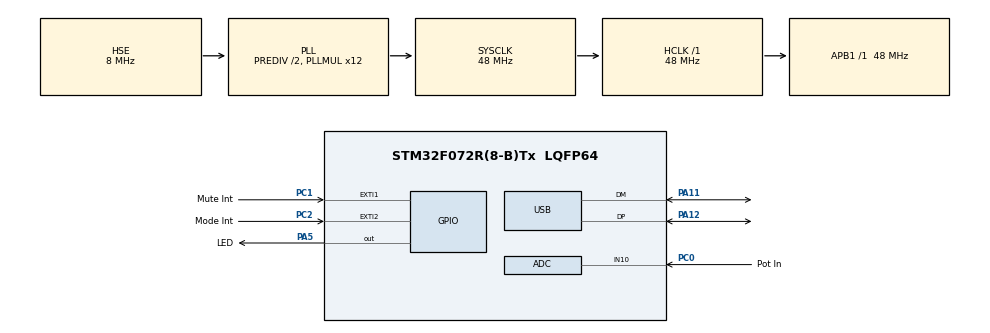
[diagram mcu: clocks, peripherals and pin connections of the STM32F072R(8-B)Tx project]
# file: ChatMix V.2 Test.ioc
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ADC.ContinuousConvMode=ENABLE
ADC.EnableAnalogWatchDog=true
ADC.ITMode=ENABLE
ADC.Overrun=ADC_OVR_DATA_OVERWRITTEN
ADC.WatchdogChannel=ADC_CHANNEL_10
Mcu.Family=STM32F0
Mcu.Name=STM32F072R(8-B)Tx
Mcu.Package=LQFP64
NVIC.ADC1_COMP_IRQn=true\:0\:0\:false\:false\:true\:true\:true\:true
NVIC.EXTI0_1_IRQn=true\:0\:0\:false\:false\:true\:true\:true\:true
NVIC.EXTI2_3_IRQn=true\:0\:0\:false\:false\:true\:true\:true\:true
NVIC.USB_IRQn=true\:0\:0\:false\:false\:true\:false\:true\:true
PA11.Mode=Device
PA11.Signal=USB_DM
PA12.Mode=Device
PA12.Signal=USB_DP
PA5.GPIO_Label=LED
PA5.Signal=GPIO_Output
PC0.GPIO_Label=Pot In
PC0.Mode=IN10
PC0.Signal=ADC_IN10
PC1.GPIO_Label=Mute Int
PC1.GPIO_ModeDefaultEXTI=GPIO_MODE_IT_FALLING
PC1.GPIO_PuPd=GPIO_PULLUP
PC1.Signal=GPXTI1
PC2.GPIO_Label=Mode Int
PC2.GPIO_ModeDefaultEXTI=GPIO_MODE_IT_FALLING
PC2.GPIO_PuPd=GPIO_PULLUP
PC2.Signal=GPXTI2
PF0-OSC_IN.Mode=HSE-External-Oscillator
PF0-OSC_IN.Signal=RCC_OSC_IN
PF1-OSC_OUT.Mode=HSE-External-Oscillator
PF1-OSC_OUT.Signal=RCC_OSC_OUT
ProjectManager.HeapSize=0x200
ProjectManager.StackSize=0x400
ProjectManager.TargetToolchain=STM32CubeIDE
RCC.AHBFreq_Value=48000000
RCC.APB1Freq_Value=48000000
RCC.APB1TimFreq_Value=48000000
RCC.FLatency-AdvancedSettings=FLASH_LATENCY_1
RCC.HCLKFreq_Value=48000000
RCC.PLLDivider=RCC_PREDIV_DIV2
RCC.PLLMUL=RCC_PLL_MUL12
RCC.SYSCLKFreq_VALUE=48000000
RCC.SYSCLKSource=RCC_SYSCLKSOURCE_PLLCLK
RCC.USBClockSelection=RCC_USBCLKSOURCE_PLL
USB_DEVICE.CLASS_NAME_FS=CUSTOM_HID
USB_DEVICE.CONFIGURATION_STRING_CUSTOMHID_FS=ChatMixer V.2 HID Config
USB_DEVICE.INTERFACE_STRING_CUSTOMHID_FS=ChatMixer V.2 HID Interface
USB_DEVICE.MANUFACTURER_STRING=George O
USB_DEVICE.PID_CUSTOMHID_FS=55577
USB_DEVICE.PRODUCT_STRING_CUSTOMHID_FS=ChatMixer V.2
USB_DEVICE.USBD_CUSTOMHID_OUTREPORT_BUF_SIZE=3
USB_DEVICE.USBD_CUSTOM_HID_REPORT_DESC_SIZE=96
USB_DEVICE.VID=5588
USB_DEVICE.VirtualMode=CustomHid
USB_DEVICE.VirtualModeFS=Custom_Hid_FS
VP_USB_DEVICE_VS_USB_DEVICE_CUSTOM_HID_FS.Mode=CUSTOM_HID_FS
board=NUCLEO-F072RB

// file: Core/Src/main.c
/* USER CODE BEGIN Header */
/**
  ******************************************************************************
  * @file           : main.c
  * @brief          : Main program body
  ******************************************************************************
  * @attention
  *
  * Copyright (c) 2026 STMicroelectronics.
  * All rights reserved.
  *
  * This software is licensed under terms that can be found in the LICENSE file
  * in the root directory of this software component.
  * If no LICENSE file comes with this software, it is provided AS-IS.
  *
  ******************************************************************************
  */
/* USER CODE END Header */
#include "main.h"
#include "usb_device.h"

/* USER CODE BEGIN Includes */
#include "deviceState.h"
#include "usbd_custom_hid_if.h"
#include "math_util.h"
/* USER CODE END Includes */

ADC_HandleTypeDef hadc;

/* USER CODE BEGIN PV */
volatile bool muteFlag = false;
volatile bool modeFlag = false;
volatile bool potFlag = false;

//Report Buffer
uint8_t reportBuffer[3];

/* USER CODE END PV */

void SystemClock_Config(void);
static void MX_GPIO_Init(void);
static void MX_ADC_Init(void);

int main(void)
{

  /* MCU Configuration--------------------------------------------------------*/

  /* Reset of all peripherals, Initializes the Flash interface and the Systick. */
  HAL_Init();

  /* Configure the system clock */
  SystemClock_Config();

  /* Initialize all configured peripherals */
  MX_GPIO_Init();
  MX_ADC_Init();
  MX_USB_DEVICE_Init();
  /* USER CODE BEGIN 2 */
  HAL_ADC_Start(&hadc);
  /* USER CODE END 2 */

  /* Infinite loop */
  while (1)
  {

    /* USER CODE BEGIN 3 */
	  //skip loop if recent report is not dirty
	  if(!(muteFlag || modeFlag || potFlag)) {continue;}

	  //update internal state variables
	  if(muteFlag)
	  {
		  muteFlag = false;
		  isMuted = !isMuted;
	  }
	  if(modeFlag)
	  {
		  modeFlag = false;
		  isModeAlternate = !isModeAlternate;
	  }
	  if(potFlag)
	  {
		  potFlag = false;

		  //Update watchdog parameters

		  ADC_AnalogWDGConfTypeDef AnalogWDGConfig = {0};
		  AnalogWDGConfig.WatchdogMode = ADC_ANALOGWATCHDOG_SINGLE_REG;
		  AnalogWDGConfig.Channel = ADC_CHANNEL_10;
		  AnalogWDGConfig.ITMode = ENABLE;
		  AnalogWDGConfig.HighThreshold = MIN(potReading + ADC_WATCHDOG_OFFSET, 4095);
		  AnalogWDGConfig.LowThreshold = MAX(potReading - ADC_WATCHDOG_OFFSET, 0);
		  HAL_ADC_Stop(&hadc);
		  if (HAL_ADC_AnalogWDGConfig(&hadc, &AnalogWDGConfig) != HAL_OK)
		  {
		    Error_Handler();
		  }
		  HAL_ADC_Start(&hadc);
	  }

	  //build report in buffer
	  reportBuffer[0] = 1;
	  reportBuffer[1] = map(potReading, 0, 4095, 0, 255); //Pot reading

	  reportBuffer[2] = 0; //First clear
	  reportBuffer[2] |= isMuted;
	  reportBuffer[2] |= isModeAlternate << 1;

	  USBD_CUSTOM_HID_SendReport_FS(reportBuffer, 3);
  }
  /* USER CODE END 3 */
}

void SystemClock_Config(void)
{
  RCC_OscInitTypeDef RCC_OscInitStruct = {0};
  RCC_ClkInitTypeDef RCC_ClkInitStruct = {0};
  RCC_PeriphCLKInitTypeDef PeriphClkInit = {0};

  /** Initializes the RCC Oscillators according to the specified parameters
  * in the RCC_OscInitTypeDef structure.
  */
  RCC_OscInitStruct.OscillatorType = RCC_OSCILLATORTYPE_HSI14|RCC_OSCILLATORTYPE_HSE;
  RCC_OscInitStruct.HSEState = RCC_HSE_ON;
  RCC_OscInitStruct.HSI14State = RCC_HSI14_ON;
  RCC_OscInitStruct.HSI14CalibrationValue = 16;
  RCC_OscInitStruct.PLL.PLLState = RCC_PLL_ON;
  RCC_OscInitStruct.PLL.PLLSource = RCC_PLLSOURCE_HSE;
  RCC_OscInitStruct.PLL.PLLMUL = RCC_PLL_MUL12;
  RCC_OscInitStruct.PLL.PREDIV = RCC_PREDIV_DIV2;
  if (HAL_RCC_OscConfig(&RCC_OscInitStruct) != HAL_OK)
  {
    Error_Handler();
  }

  /** Initializes the CPU, AHB and APB buses clocks
  */
  RCC_ClkInitStruct.ClockType = RCC_CLOCKTYPE_HCLK|RCC_CLOCKTYPE_SYSCLK
                              |RCC_CLOCKTYPE_PCLK1;
  RCC_ClkInitStruct.SYSCLKSource = RCC_SYSCLKSOURCE_PLLCLK;
  RCC_ClkInitStruct.AHBCLKDivider = RCC_SYSCLK_DIV1;
  RCC_ClkInitStruct.APB1CLKDivider = RCC_HCLK_DIV1;

  if (HAL_RCC_ClockConfig(&RCC_ClkInitStruct, FLASH_LATENCY_1) != HAL_OK)
  {
    Error_Handler();
  }
  PeriphClkInit.PeriphClockSelection = RCC_PERIPHCLK_USB;
  PeriphClkInit.UsbClockSelection = RCC_USBCLKSOURCE_PLL;

  if (HAL_RCCEx_PeriphCLKConfig(&PeriphClkInit) != HAL_OK)
  {
    Error_Handler();
  }
}

static void MX_ADC_Init(void)
{

  ADC_ChannelConfTypeDef sConfig = {0};
  ADC_AnalogWDGConfTypeDef AnalogWDGConfig = {0};

  /** Configure the global features of the ADC (Clock, Resolution, Data Alignment and number of conversion)
  */
  hadc.Instance = ADC1;
  hadc.Init.ClockPrescaler = ADC_CLOCK_ASYNC_DIV1;
  hadc.Init.Resolution = ADC_RESOLUTION_12B;
  hadc.Init.DataAlign = ADC_DATAALIGN_RIGHT;
  hadc.Init.ScanConvMode = ADC_SCAN_DIRECTION_FORWARD;
  hadc.Init.EOCSelection = ADC_EOC_SINGLE_CONV;
  hadc.Init.LowPowerAutoWait = DISABLE;
  hadc.Init.LowPowerAutoPowerOff = DISABLE;
  hadc.Init.ContinuousConvMode = ENABLE;
  hadc.Init.DiscontinuousConvMode = DISABLE;
  hadc.Init.ExternalTrigConv = ADC_SOFTWARE_START;
  hadc.Init.ExternalTrigConvEdge = ADC_EXTERNALTRIGCONVEDGE_NONE;
  hadc.Init.DMAContinuousRequests = DISABLE;
  hadc.Init.Overrun = ADC_OVR_DATA_OVERWRITTEN;
  if (HAL_ADC_Init(&hadc) != HAL_OK)
  {
    Error_Handler();
  }

  /** Configure for the selected ADC regular channel to be converted.
  */
  sConfig.Channel = ADC_CHANNEL_10;
  sConfig.Rank = ADC_RANK_CHANNEL_NUMBER;
  sConfig.SamplingTime = ADC_SAMPLETIME_1CYCLE_5;
  if (HAL_ADC_ConfigChannel(&hadc, &sConfig) != HAL_OK)
  {
    Error_Handler();
  }

  /** Configure the analog watchdog
  */
  AnalogWDGConfig.WatchdogMode = ADC_ANALOGWATCHDOG_SINGLE_REG;
  AnalogWDGConfig.Channel = ADC_CHANNEL_10;
  AnalogWDGConfig.ITMode = ENABLE;
  AnalogWDGConfig.HighThreshold = ADC_WATCHDOG_OFFSET;
  AnalogWDGConfig.LowThreshold = 0;
  if (HAL_ADC_AnalogWDGConfig(&hadc, &AnalogWDGConfig) != HAL_OK)
  {
    Error_Handler();
  }

}

static void MX_GPIO_Init(void)
{
  GPIO_InitTypeDef GPIO_InitStruct = {0};

  /* GPIO Ports Clock Enable */
  __HAL_RCC_GPIOF_CLK_ENABLE();
  __HAL_RCC_GPIOC_CLK_ENABLE();
  __HAL_RCC_GPIOA_CLK_ENABLE();

  /*Configure GPIO pin Output Level */
  HAL_GPIO_WritePin(LED_GPIO_Port, LED_Pin, GPIO_PIN_RESET);

  /*Configure GPIO pins : Mute_Int_Pin Mode_Int_Pin */
  GPIO_InitStruct.Pin = Mute_Int_Pin|Mode_Int_Pin;
  GPIO_InitStruct.Mode = GPIO_MODE_IT_FALLING;
  GPIO_InitStruct.Pull = GPIO_PULLUP;
  HAL_GPIO_Init(GPIOC, &GPIO_InitStruct);

  /*Configure GPIO pin : LED_Pin */
  GPIO_InitStruct.Pin = LED_Pin;
  GPIO_InitStruct.Mode = GPIO_MODE_OUTPUT_PP;
  GPIO_InitStruct.Pull = GPIO_NOPULL;
  GPIO_InitStruct.Speed = GPIO_SPEED_FREQ_LOW;
  HAL_GPIO_Init(LED_GPIO_Port, &GPIO_InitStruct);

  /* EXTI interrupt init*/
  HAL_NVIC_SetPriority(EXTI0_1_IRQn, 0, 0);
  HAL_NVIC_EnableIRQ(EXTI0_1_IRQn);

  HAL_NVIC_SetPriority(EXTI2_3_IRQn, 0, 0);
  HAL_NVIC_EnableIRQ(EXTI2_3_IRQn);

}

/* USER CODE BEGIN 4 */
void HAL_GPIO_EXTI_Callback(uint16_t GPIO_Pin)
{
	switch (GPIO_Pin)
	{
	case (Mute_Int_Pin):
			muteFlag = true;
	break;
	case (Mode_Int_Pin):
			modeFlag = true;
	break;
	}
}

void HAL_ADC_LevelOutOfWindowCallback(ADC_HandleTypeDef* hadc)
{
	potReading = HAL_ADC_GetValue(hadc);
	potFlag = true;
}

/* USER CODE END 4 */

void Error_Handler(void)
{
  __disable_irq();
  while (1)
  {
  }
}
